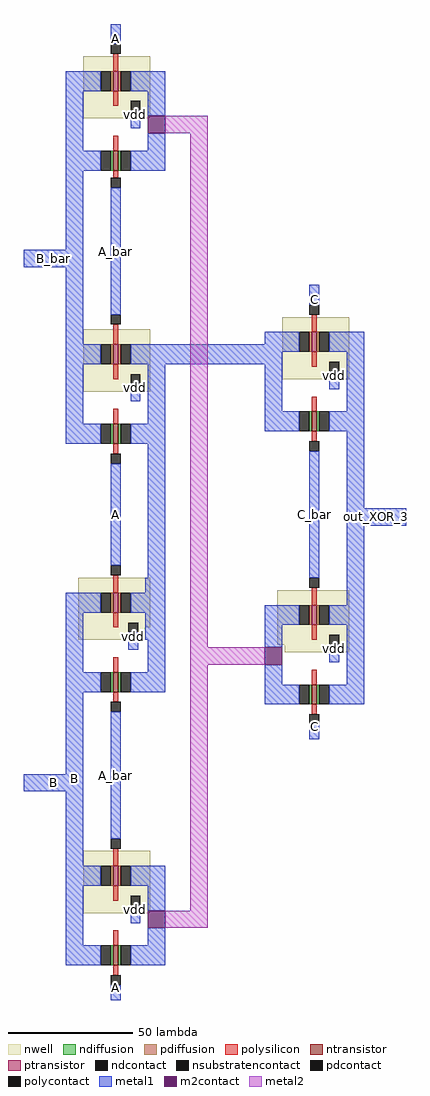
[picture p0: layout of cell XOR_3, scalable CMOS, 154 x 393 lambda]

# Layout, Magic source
magic
tech scmos
<< nwell >>
rect 49 -7 76 18
rect 49 -117 76 -92
rect 129 -112 156 -87
rect 47 -212 76 -192
rect 47 -217 74 -212
rect 127 -219 156 -197
rect 130 -222 156 -219
rect 49 -327 76 -302
<< ntransistor >>
rect 61 -28 63 -20
rect 61 -138 63 -130
rect 141 -133 143 -125
rect 61 -238 63 -230
rect 141 -243 143 -235
rect 61 -348 63 -340
<< ptransistor >>
rect 61 4 63 12
rect 61 -106 63 -98
rect 141 -101 143 -93
rect 61 -206 63 -198
rect 141 -211 143 -203
rect 61 -316 63 -308
<< ndiffusion >>
rect 60 -28 61 -20
rect 63 -28 64 -20
rect 60 -138 61 -130
rect 63 -138 64 -130
rect 140 -133 141 -125
rect 143 -133 144 -125
rect 60 -238 61 -230
rect 63 -238 64 -230
rect 140 -243 141 -235
rect 143 -243 144 -235
rect 60 -348 61 -340
rect 63 -348 64 -340
<< pdiffusion >>
rect 60 4 61 12
rect 63 4 64 12
rect 60 -106 61 -98
rect 63 -106 64 -98
rect 140 -101 141 -93
rect 143 -101 144 -93
rect 60 -206 61 -198
rect 63 -206 64 -198
rect 140 -211 141 -203
rect 143 -211 144 -203
rect 60 -316 61 -308
rect 63 -316 64 -308
<< ndcontact >>
rect 56 -28 60 -20
rect 64 -28 68 -20
rect 56 -138 60 -130
rect 64 -138 68 -130
rect 136 -133 140 -125
rect 144 -133 148 -125
rect 56 -238 60 -230
rect 64 -238 68 -230
rect 136 -243 140 -235
rect 144 -243 148 -235
rect 56 -348 60 -340
rect 64 -348 68 -340
<< pdcontact >>
rect 56 4 60 12
rect 64 4 68 12
rect 56 -106 60 -98
rect 64 -106 68 -98
rect 136 -101 140 -93
rect 144 -101 148 -93
rect 56 -206 60 -198
rect 64 -206 68 -198
rect 136 -211 140 -203
rect 144 -211 148 -203
rect 56 -316 60 -308
rect 64 -316 68 -308
<< nsubstratencontact >>
rect 68 -4 72 0
rect 148 -109 152 -105
rect 68 -114 72 -110
rect 67 -214 71 -210
rect 148 -219 152 -215
rect 68 -324 72 -320
<< polysilicon >>
rect 61 12 63 19
rect 61 -2 63 4
rect 61 -20 63 -14
rect 61 -31 63 -28
rect 61 -98 63 -90
rect 141 -93 143 -86
rect 61 -112 63 -106
rect 141 -107 143 -101
rect 61 -130 63 -124
rect 141 -125 143 -119
rect 141 -137 143 -133
rect 61 -142 63 -138
rect 61 -198 63 -191
rect 141 -203 143 -196
rect 61 -212 63 -206
rect 141 -217 143 -211
rect 61 -230 63 -224
rect 141 -235 143 -229
rect 61 -242 63 -238
rect 141 -247 143 -243
rect 61 -308 63 -301
rect 61 -322 63 -316
rect 61 -340 63 -334
rect 61 -352 63 -348
<< polycontact >>
rect 60 19 64 23
rect 60 -35 64 -31
rect 140 -86 144 -82
rect 60 -90 64 -86
rect 140 -141 144 -137
rect 60 -146 64 -142
rect 60 -191 64 -187
rect 140 -196 144 -192
rect 60 -246 64 -242
rect 140 -251 144 -247
rect 60 -301 64 -297
rect 60 -356 64 -352
<< metal1 >>
rect 60 23 64 31
rect 42 4 56 12
rect 68 4 82 12
rect 42 -20 49 4
rect 68 -11 72 -4
rect 75 -6 82 4
rect 75 -20 82 -13
rect 42 -28 56 -20
rect 68 -28 82 -20
rect 42 -60 49 -28
rect 25 -67 49 -60
rect 42 -98 49 -67
rect 60 -86 64 -35
rect 140 -82 144 -74
rect 122 -98 136 -93
rect 42 -106 56 -98
rect 68 -101 136 -98
rect 148 -101 162 -93
rect 68 -106 129 -101
rect 42 -130 49 -106
rect 68 -121 72 -114
rect 75 -130 82 -106
rect 42 -138 56 -130
rect 68 -138 82 -130
rect 122 -125 129 -106
rect 148 -116 152 -109
rect 155 -125 162 -101
rect 122 -133 136 -125
rect 148 -133 162 -125
rect 60 -187 64 -146
rect 75 -192 82 -138
rect 74 -198 82 -192
rect 140 -192 144 -141
rect 155 -164 162 -133
rect 155 -171 179 -164
rect 42 -206 56 -198
rect 68 -206 82 -198
rect 155 -203 162 -171
rect 42 -230 49 -206
rect 67 -221 71 -214
rect 74 -217 82 -206
rect 75 -230 82 -217
rect 42 -238 56 -230
rect 68 -238 82 -230
rect 122 -211 136 -203
rect 148 -211 162 -203
rect 122 -220 129 -211
rect 148 -226 152 -219
rect 122 -235 129 -227
rect 155 -235 162 -211
rect 42 -271 49 -238
rect 25 -278 49 -271
rect 42 -308 49 -278
rect 122 -243 136 -235
rect 148 -243 162 -235
rect 60 -297 64 -246
rect 140 -257 144 -251
rect 42 -316 56 -308
rect 68 -316 82 -308
rect 42 -340 49 -316
rect 68 -331 72 -324
rect 75 -326 82 -316
rect 75 -340 82 -333
rect 42 -348 56 -340
rect 68 -348 82 -340
rect 60 -362 64 -356
<< m2contact >>
rect 75 -13 82 -6
rect 122 -227 129 -220
rect 75 -333 82 -326
<< metal2 >>
rect 82 -13 99 -6
rect 92 -220 99 -13
rect 92 -227 122 -220
rect 92 -326 99 -227
rect 82 -333 99 -326
<< labels >>
rlabel metal1 25 -278 49 -271 1 B
rlabel metal1 155 -171 179 -164 1 out_XOR_3
rlabel metal1 68 -11 72 0 1 vdd
rlabel metal1 68 -121 72 -110 1 vdd
rlabel metal1 67 -221 71 -210 1 vdd
rlabel metal1 68 -331 72 -320 1 vdd
rlabel metal1 148 -226 152 -215 1 vdd
rlabel metal1 148 -116 152 -105 1 vdd
rlabel metal1 25 -67 49 -60 1 B_bar
rlabel metal1 42 -348 49 -198 1 B
rlabel metal1 60 19 64 31 1 A
rlabel metal1 60 -90 64 -31 1 A_bar
rlabel metal1 60 -191 64 -142 1 A
rlabel metal1 60 -301 64 -242 1 A_bar
rlabel metal1 60 -362 64 -352 1 A
rlabel metal1 140 -257 144 -247 1 C
rlabel metal1 140 -196 144 -137 1 C_bar
rlabel metal1 140 -86 144 -74 1 C
<< end >>
